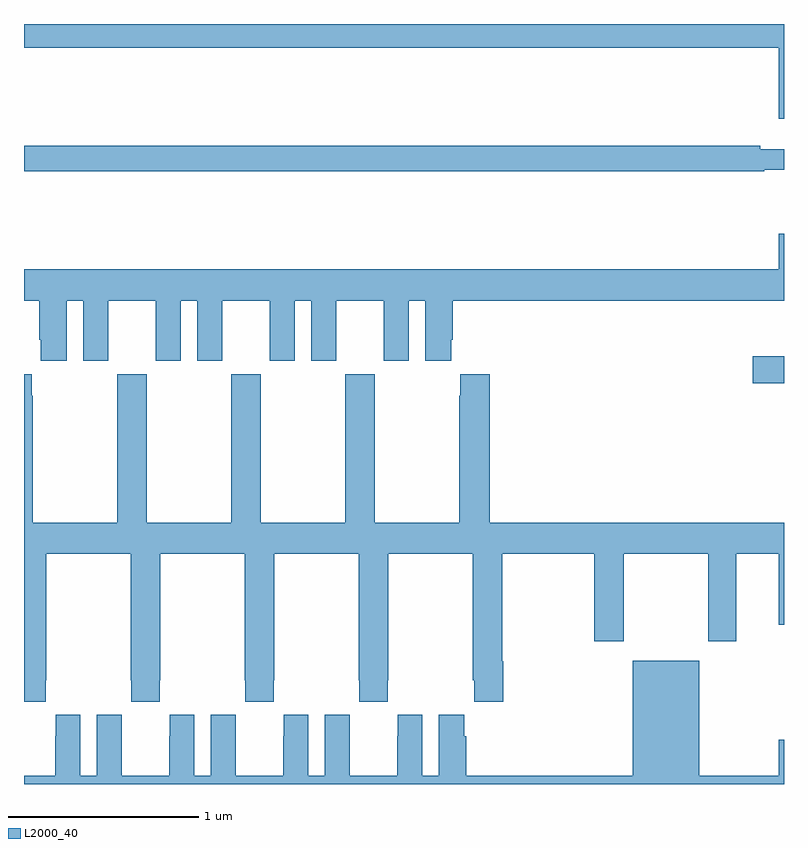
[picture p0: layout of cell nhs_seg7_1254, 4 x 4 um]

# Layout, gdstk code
import gdstk
lib = gdstk.Library(unit=1e-6, precision=1e-09)
def R(c, l, rs):  # rectangles x0, y0, x1, y1
    for r in rs: c.add(gdstk.rectangle(r[:2], r[2:], *l))
def P(c, l, *ps):  # polygons
    for p in ps: c.add(gdstk.Polygon(p, *l))
L2000_40 = (2000, 40)

nhs_seg7_1254 = lib.new_cell('nhs_seg7_1254')
R(nhs_seg7_1254, L2000_40, [(200.835,1072.109,201,1072.251)])
P(nhs_seg7_1254, L2000_40, [(201,1074),(197,1074),(197,1073.876),(200.972,1073.876),(200.972,1073.502),(201,1073.502)],
  [(200.896,1073.232),(201,1073.232),(201,1073.341),(200.876,1073.341),(200.876,1073.36),(197,1073.36),(197,1073.224),(200.896,1073.224)],
  [(197.224,1072.544),(197.312,1072.544),(197.312,1072.227),(197.443,1072.227),(197.443,1072.544),(197.693,1072.544),(197.693,1072.227),(197.824,1072.227),(197.824,1072.544),(197.912,1072.544),(197.912,1072.227),(198.043,1072.227),(198.043,1072.544),(198.293,1072.544),(198.293,1072.227),(198.424,1072.227),(198.424,1072.544),(198.512,1072.544),(198.512,1072.227),(198.643,1072.227),(198.643,1072.544),(198.893,1072.544),(198.893,1072.227),(199.024,1072.227),(199.024,1072.544),(199.112,1072.544),(199.112,1072.227),(199.249,1072.227),(199.249,1072.339),(199.256,1072.339),(199.256,1072.544),(201,1072.544),(201,1072.897),(200.972,1072.897),(200.972,1072.708),(197,1072.708),(197,1072.544),(197.081,1072.544),(197.081,1072.339),(197.087,1072.339),(197.087,1072.227),(197.224,1072.227)],
  [(199.451,1072.156),(199.295,1072.156),(199.295,1072.043),(199.291,1072.043),(199.291,1071.376),(198.846,1071.376),(198.846,1072.156),(198.691,1072.156),(198.691,1071.376),(198.246,1071.376),(198.246,1072.156),(198.091,1072.156),(198.091,1071.376),(197.646,1071.376),(197.646,1072.156),(197.491,1072.156),(197.491,1071.376),(197.046,1071.376),(197.046,1072.043),(197.041,1072.043),(197.041,1072.156),(197,1072.156),(197,1070.433),(197.115,1070.433),(197.115,1070.545),(197.118,1070.545),(197.118,1071.212),(197.563,1071.212),(197.563,1070.545),(197.565,1070.545),(197.565,1070.433),(197.715,1070.433),(197.715,1070.545),(197.718,1070.545),(197.718,1071.212),(198.163,1071.212),(198.163,1070.545),(198.165,1070.545),(198.165,1070.433),(198.315,1070.433),(198.315,1070.545),(198.318,1070.545),(198.318,1071.212),(198.763,1071.212),(198.763,1070.545),(198.765,1070.545),(198.765,1070.433),(198.915,1070.433),(198.915,1070.545),(198.918,1070.545),(198.918,1071.212),(199.363,1071.212),(199.363,1070.545),(199.369,1070.545),(199.369,1070.433),(199.523,1070.433),(199.523,1070.645),(199.518,1070.645),(199.518,1071.212),(200.002,1071.212),(200.002,1070.751),(200.157,1070.751),(200.157,1071.212),(200.602,1071.212),(200.602,1070.751),(200.749,1070.751),(200.749,1071.212),(200.972,1071.212),(200.972,1070.838),(201,1070.838),(201,1071.376),(199.451,1071.376)],
  [(201,1070.233),(200.972,1070.233),(200.972,1070.044),(200.554,1070.044),(200.554,1070.65),(200.204,1070.65),(200.204,1070.044),(199.328,1070.044),(199.328,1070.252),(199.318,1070.252),(199.318,1070.365),(199.184,1070.365),(199.184,1070.044),(199.096,1070.044),(199.096,1070.365),(198.966,1070.365),(198.966,1070.252),(198.965,1070.252),(198.965,1070.044),(198.715,1070.044),(198.715,1070.252),(198.714,1070.252),(198.714,1070.365),(198.584,1070.365),(198.584,1070.044),(198.496,1070.044),(198.496,1070.365),(198.366,1070.365),(198.366,1070.252),(198.365,1070.252),(198.365,1070.044),(198.115,1070.044),(198.115,1070.252),(198.114,1070.252),(198.114,1070.365),(197.984,1070.365),(197.984,1070.044),(197.896,1070.044),(197.896,1070.365),(197.766,1070.365),(197.766,1070.252),(197.765,1070.252),(197.765,1070.044),(197.515,1070.044),(197.515,1070.252),(197.514,1070.252),(197.514,1070.365),(197.384,1070.365),(197.384,1070.044),(197.296,1070.044),(197.296,1070.365),(197.166,1070.365),(197.166,1070.252),(197.165,1070.252),(197.165,1070.044),(197,1070.044),(197,1070),(201,1070)])

lib.write_gds('nhs_seg7_1254.gds')
